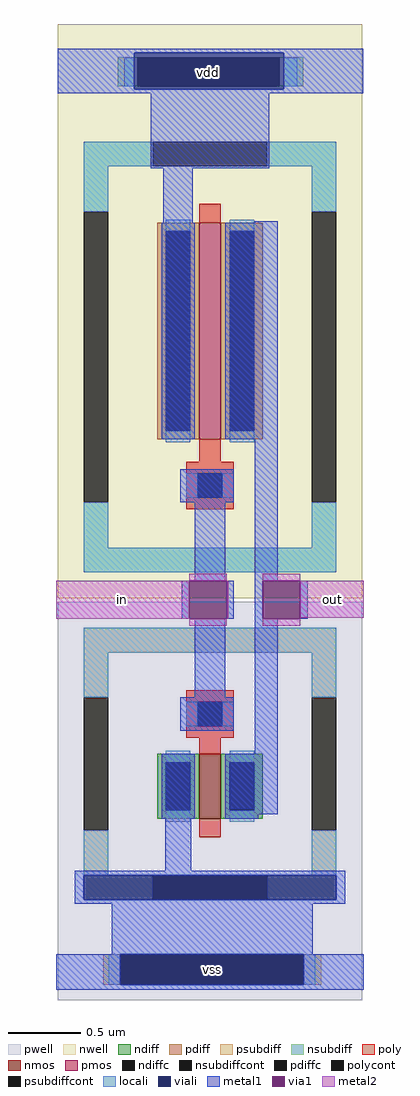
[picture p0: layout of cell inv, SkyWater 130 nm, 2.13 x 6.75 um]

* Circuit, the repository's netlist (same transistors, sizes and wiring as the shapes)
**.subckt inv vdd vss in out
*.ipin vdd
*.ipin vss
*.ipin in
*.opin out
XM1 out in vss vss sky130_fd_pr__nfet_01v8 L=0.15 W=0.450 nf=1 ad='int((nf+1)/2) * W/nf * 0.29' as='int((nf+2)/2) * W/nf * 0.29'
+ pd='2*int((nf+1)/2) * (W/nf + 0.29)' ps='2*int((nf+2)/2) * (W/nf + 0.29)' nrd='0.29 / W' nrs='0.29 / W'
+ sa=0 sb=0 sd=0 mult=1 m=1 
XM2 out in vdd vdd sky130_fd_pr__pfet_01v8 L=0.15 W=1.5 nf=1 ad='int((nf+1)/2) * W/nf * 0.29' as='int((nf+2)/2) * W/nf * 0.29'
+ pd='2*int((nf+1)/2) * (W/nf + 0.29)' ps='2*int((nf+2)/2) * (W/nf + 0.29)' nrd='0.29 / W' nrs='0.29 / W'
+ sa=0 sb=0 sd=0 mult=1 m=1 
**.ends
** flattened .save nodes
.end

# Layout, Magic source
magic
tech sky130A
magscale 1 2
<< nwell >>
rect -53 1060 369 1195
<< pwell >>
rect -53 -156 369 -47
<< psubdiff >>
rect 10 -135 34 -93
rect 288 -135 312 -93
<< nsubdiff >>
rect 30 1148 287 1149
rect 30 1109 58 1148
rect 254 1109 287 1148
<< psubdiffcont >>
rect 34 -135 288 -93
<< nsubdiffcont >>
rect 58 1109 254 1148
<< locali >>
rect 39 1109 53 1148
rect 260 1109 279 1148
rect 18 -135 34 -93
rect 288 -135 304 -93
<< viali >>
rect 53 1148 260 1155
rect 53 1109 58 1148
rect 58 1109 254 1148
rect 254 1109 260 1148
rect 53 1105 260 1109
rect -17 -17 333 17
rect 34 -135 288 -93
<< metal1 >>
rect -53 1155 370 1161
rect -53 1105 53 1155
rect 260 1105 370 1155
rect -53 1099 370 1105
rect 76 995 240 1099
rect 93 624 134 995
rect 220 912 252 922
rect 186 628 252 912
rect 117 533 191 579
rect 137 424 179 533
rect 220 424 252 628
rect 119 372 129 424
rect 181 372 191 424
rect 220 372 231 424
rect 283 372 293 424
rect 137 263 179 372
rect 117 217 191 263
rect 220 175 252 372
rect 96 23 132 174
rect 187 109 252 175
rect 220 101 252 109
rect -29 17 345 23
rect -29 -17 -17 17
rect 333 -17 345 17
rect -29 -23 345 -17
rect 22 -93 300 -23
rect -55 -135 34 -93
rect 288 -135 371 -93
rect -55 -142 371 -135
<< via1 >>
rect 129 372 181 424
rect 231 372 283 424
<< metal2 >>
rect 129 424 181 434
rect 231 424 283 434
rect -55 372 129 424
rect 181 372 183 424
rect 283 373 371 424
rect 129 362 181 372
rect 231 362 283 372
use sky130_fd_pr__pfet_01v8_7KP3BC  sky130_fd_pr__pfet_01v8_7KP3BC_0
transform 1 0 158 0 1 734
box -211 -334 211 334
use sky130_fd_pr__nfet_01v8_A4WUDG  sky130_fd_pr__nfet_01v8_A4WUDG_0
transform 1 0 158 0 1 171
box -211 -224 211 224
<< labels >>
rlabel metal2 -55 372 129 424 1 in
rlabel metal2 283 373 371 424 1 out
rlabel pwell 34 -135 288 -93 1 vss
rlabel nwell 58 1109 254 1148 1 vdd
<< end >>

# cell sky130_fd_pr__pfet_01v8_7KP3BC: kit device sky130_fd_pr__pfet_01v8, w 1.5 l 0.15 m 1 nf 1 diffcov 100 polycov 100 guard 1 glc 1 grc 1 gtc 1 gbc 0 tbcov 100 rlcov 100 topc 0 botc 1 poverlap 0 doverlap 1 lmin 0.15 wmin 0.42 compatible {sky130_fd_pr__pfet_01v8 sky130_fd_pr__pfet_01v8_lvt sky130_fd_pr__pfet_01v8_hvt sky130_fd_pr__pfet_g5v0d10v5} full_metal 1 viasrc 100 viadrn 100 viagate 100 viagb 0 viagr 0 viagl 0 viagt 0

# cell sky130_fd_pr__nfet_01v8_A4WUDG: kit device sky130_fd_pr__nfet_01v8, w 0.450 l 0.150 m 1 nf 1 diffcov 100 polycov 100 guard 1 glc 1 grc 1 gtc 0 gbc 1 tbcov 100 rlcov 100 topc 1 botc 0 poverlap 0 doverlap 1 lmin 0.15 wmin 0.42 compatible {sky130_fd_pr__nfet_01v8 sky130_fd_pr__nfet_01v8_lvt sky130_fd_bs_flash__special_sonosfet_star sky130_fd_pr__nfet_g5v0d10v5 sky130_fd_pr__nfet_05v0_nvt} full_metal 1 viasrc 100 viadrn 100 viagate 100 viagb 0 viagr 0 viagl 0 viagt 0
